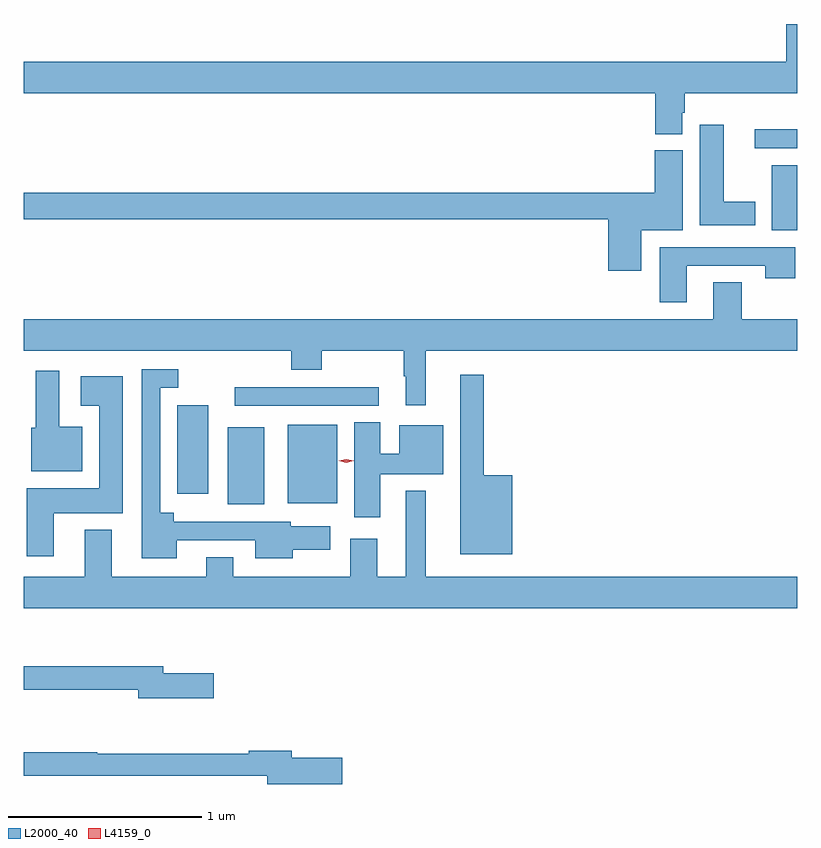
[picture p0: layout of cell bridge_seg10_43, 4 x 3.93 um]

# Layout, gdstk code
import gdstk
lib = gdstk.Library(unit=1e-6, precision=1e-09)
def R(c, l, rs):  # rectangles x0, y0, x1, y1
    for r in rs: c.add(gdstk.rectangle(r[:2], r[2:], *l))
def P(c, l, *ps):  # polygons
    for p in ps: c.add(gdstk.Polygon(p, *l))
L2000_40 = (2000, 40)
L4159_0 = (4159, 0)

bridge_seg10_43 = lib.new_cell('bridge_seg10_43')
R(bridge_seg10_43, L2000_40, [(892.412,1322.165,892.6,1322.563), (892.721,1322.171,892.978,1322.578), (892.151,1322.22,892.312,1322.677), (892.449,1322.676,893.194,1322.772), (895.226,1323.584,895.357,1323.919), (895.137,1324.008,895.357,1324.106)])
P(bridge_seg10_43, L2000_40, [(894.763,1324.191),(894.776,1324.191),(894.776,1324.292),(895.357,1324.292),(895.357,1324.65),(895.301,1324.65),(895.301,1324.456),(891.357,1324.456),(891.357,1324.292),(894.623,1324.292),(894.623,1324.081),(894.763,1324.081)],
  [(895.141,1323.73),(894.976,1323.73),(894.976,1324.129),(894.854,1324.129),(894.854,1323.608),(895.141,1323.608)],
  [(894.55,1323.584),(894.766,1323.584),(894.766,1323.996),(894.62,1323.996),(894.62,1323.776),(891.357,1323.776),(891.357,1323.64),(894.38,1323.64),(894.38,1323.375),(894.55,1323.375)],
  [(894.787,1323.399),(895.192,1323.399),(895.192,1323.336),(895.348,1323.336),(895.348,1323.495),(894.647,1323.495),(894.647,1323.21),(894.787,1323.21)],
  [(893.437,1322.96),(895.357,1322.96),(895.357,1323.124),(895.071,1323.124),(895.071,1323.314),(894.923,1323.314),(894.923,1323.124),(891.357,1323.124),(891.357,1322.96),(892.739,1322.96),(892.739,1322.861),(892.899,1322.861),(892.899,1322.96),(893.323,1322.96),(893.323,1322.828),(893.333,1322.828),(893.333,1322.679),(893.437,1322.679)],
  [(892.147,1321.98),(892.553,1321.98),(892.553,1321.886),(892.749,1321.886),(892.749,1321.931),(892.942,1321.931),(892.942,1322.053),(892.737,1322.053),(892.737,1322.076),(892.132,1322.076),(892.132,1322.122),(892.062,1322.122),(892.062,1322.768),(892.156,1322.768),(892.156,1322.865),(891.966,1322.865),(891.966,1321.886),(892.147,1321.886)],
  [(891.658,1322.566),(891.541,1322.566),(891.541,1322.857),(891.419,1322.857),(891.419,1322.562),(891.395,1322.562),(891.395,1322.336),(891.658,1322.336)],
  [(893.884,1322.317),(893.737,1322.317),(893.737,1322.836),(893.615,1322.836),(893.615,1321.907),(893.884,1321.907)],
  [(891.511,1322.12),(891.868,1322.12),(891.868,1322.827),(891.651,1322.827),(891.651,1322.675),(891.746,1322.675),(891.746,1322.248),(891.371,1322.248),(891.371,1321.896),(891.511,1321.896)],
  [(893.2,1322.321),(893.527,1322.321),(893.527,1322.575),(893.3,1322.575),(893.3,1322.427),(893.2,1322.427),(893.2,1322.591),(893.066,1322.591),(893.066,1322.1),(893.2,1322.1)],
  [(895.357,1321.792),(893.437,1321.792),(893.437,1322.236),(893.333,1322.236),(893.333,1321.792),(893.185,1321.792),(893.185,1321.987),(893.045,1321.987),(893.045,1321.792),(892.441,1321.792),(892.441,1321.891),(892.301,1321.891),(892.301,1321.792),(891.811,1321.792),(891.811,1322.035),(891.671,1322.035),(891.671,1321.792),(891.357,1321.792),(891.357,1321.628),(895.357,1321.628)],
  [(892.339,1321.293),(892.078,1321.293),(892.078,1321.327),(891.357,1321.327),(891.357,1321.206),(891.95,1321.206),(891.95,1321.163),(892.339,1321.163)],
  [(893.005,1320.854),(892.744,1320.854),(892.744,1320.89),(892.52,1320.89),(892.52,1320.875),(891.737,1320.875),(891.737,1320.883),(891.357,1320.883),(891.357,1320.762),(892.616,1320.762),(892.616,1320.719),(893.005,1320.719)])
P(bridge_seg10_43, L4159_0, [(893.024,1322.38),(892.985,1322.39),(892.985,1322.39),(892.985,1322.39),(893.024,1322.4),(893.063,1322.39),(893.063,1322.39),(893.063,1322.39)])

lib.write_gds('bridge_seg10_43.gds')
